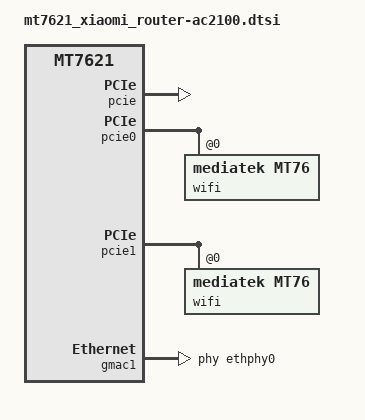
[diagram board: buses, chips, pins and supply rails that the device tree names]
// SPDX-License-Identifier: GPL-2.0-or-later OR MIT

#include "mt7621_xiaomi_nand_128m.dtsi"

/ {
	chosen {
		/* Mirror FCJ: no root= (mtdsplit auto-splits firmware into
		 * kernel+rootfs); console on ttyS0 115200 like 4.4 r2100.dts. */
		bootargs = "console=ttyS0,115200 rootfstype=squashfs";
	};
};

/*
 * Padavan firmware layout for the Redmi AC2100, mirroring the 4.4
 * r2100.dts partition table: the "firmware" partition holds the uImage +
 * squashfs rootfs image (split into kernel+rootfs by mtdsplit_uimage via
 * the openwrt,uimage compatible). Overrides the OpenWrt "kernel"+"ubi"
 * layout, which has no firmware partition to split and thus cannot boot.
 */
&nand {
	partitions {
		/delete-node/ partition@600000; /* old "kernel" */
		/delete-node/ partition@a00000; /* old "ubi" */

		partition@600000 {
			label = "firmware";
			reg = <0x600000 0x1400000>; /* 20MB, holds kernel+rootfs */
			compatible = "openwrt,uimage";
		};

		partition@1a00000 {
			label = "Config";
			reg = <0x1a00000 0x80000>; /* 512K */
		};

		partition@1a80000 {
			label = "Storage";
			reg = <0x1a80000 0x400000>; /* 4096K */
		};

		partition@1e80000 {
			label = "RWFS";
			reg = <0x1e80000 0x6100000>;
		};
	};
};

/* override EEPROM size to 0x4da8 for MT7615 */
&eeprom_factory_8000 {
	reg = <0x8000 0x4da8>;
};

&pcie {
	status = "okay";
};

&pcie0 {
	wifi@0,0 {
		compatible = "mediatek,mt76";
		reg = <0x0000 0 0 0 0>;
		nvmem-cells = <&eeprom_factory_8000>;
		nvmem-cell-names = "eeprom";
		ieee80211-freq-limit = <5000000 6000000>;
	};
};

&pcie1 {
	wifi@0,0 {
		compatible = "mediatek,mt76";
		reg = <0x0000 0 0 0 0>;
		nvmem-cells = <&eeprom_factory_0>;
		nvmem-cell-names = "eeprom";
		ieee80211-freq-limit = <2400000 2500000>;
	};
};

&gmac0 {
	nvmem-cells = <&macaddr_factory_e000>;
	nvmem-cell-names = "mac-address";
};

&gmac1 {
	status = "okay";
	label = "wan";
	phy-handle = <&ethphy0>;

	nvmem-cells = <&macaddr_factory_e006>;
	nvmem-cell-names = "mac-address";
};

&ethphy0 {
	/delete-property/ interrupts;
};

&switch0 {
	ports {
		port@2 {
			status = "okay";
			label = "lan1";
		};

		port@3 {
			status = "okay";
			label = "lan2";
		};

		port@4 {
			status = "okay";
			label = "lan3";
		};
	};
};

&state_default {
	gpio {
		groups = "uart2", "uart3", "wdt";
		function = "gpio";
	};
};
